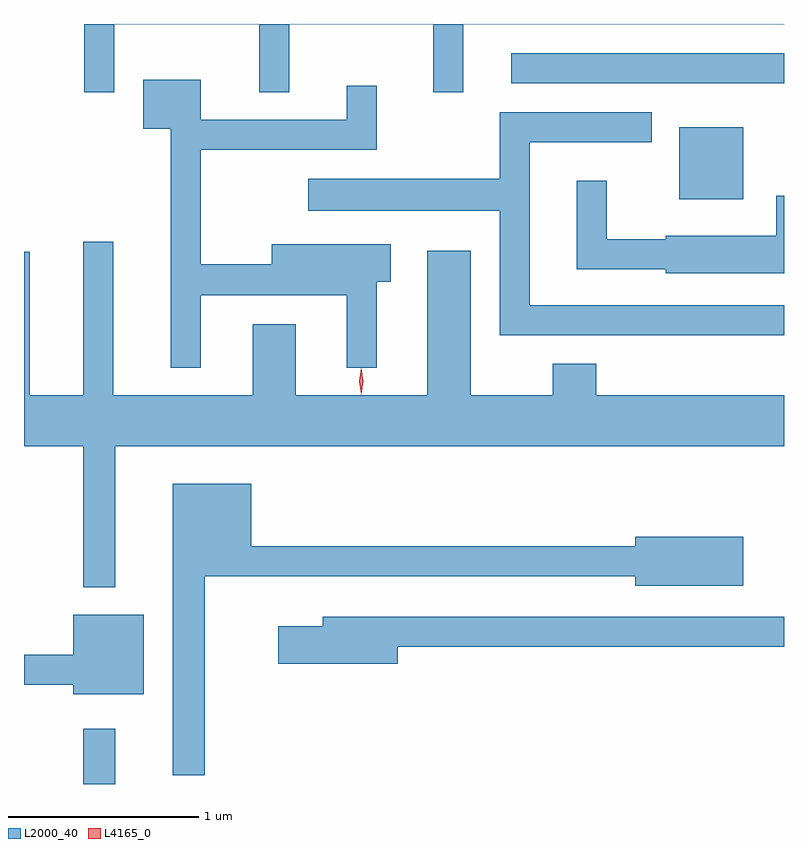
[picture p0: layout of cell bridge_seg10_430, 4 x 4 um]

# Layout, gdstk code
import gdstk
lib = gdstk.Library(unit=1e-6, precision=1e-09)
def R(c, l, rs):  # rectangles x0, y0, x1, y1
    for r in rs: c.add(gdstk.rectangle(r[:2], r[2:], *l))
def P(c, l, *ps):  # polygons
    for p in ps: c.add(gdstk.Polygon(p, *l))
L2000_40 = (2000, 40)
L4165_0 = (4165, 0)

bridge_seg10_430 = lib.new_cell('bridge_seg10_430')
R(bridge_seg10_430, L2000_40, [(1409.711,2143.218,1409.879,2143.508), (1412.846,2146.296,1413.184,2146.674), (1411.963,2146.906,1413.398,2147.064)])
P(bridge_seg10_430, L2000_40, [(1409.874,2147.216),(1410.636,2147.216),(1410.636,2146.858),(1410.794,2146.858),(1410.794,2147.216),(1411.551,2147.216),(1411.551,2146.858),(1411.709,2146.858),(1411.709,2147.216),(1413.398,2147.216),(1413.398,2147.218),(1409.398,2147.218),(1409.398,2147.216),(1409.716,2147.216),(1409.716,2146.858),(1409.874,2146.858)],
  [(1410.329,2145.791),(1411.096,2145.791),(1411.096,2145.408),(1411.254,2145.408),(1411.254,2145.861),(1411.329,2145.861),(1411.329,2146.059),(1410.701,2146.059),(1410.701,2145.954),(1410.329,2145.954),(1410.329,2146.556),(1411.254,2146.556),(1411.254,2146.893),(1411.096,2146.893),(1411.096,2146.714),(1410.329,2146.714),(1410.329,2146.924),(1410.026,2146.924),(1410.026,2146.666),(1410.171,2146.666),(1410.171,2145.408),(1410.329,2145.408)],
  [(1413.398,2145.739),(1412.059,2145.739),(1412.059,2146.596),(1412.703,2146.596),(1412.703,2146.754),(1411.901,2146.754),(1411.901,2146.404),(1410.893,2146.404),(1410.893,2146.236),(1411.901,2146.236),(1411.901,2145.581),(1413.398,2145.581)],
  [(1413.398,2146.314),(1413.356,2146.314),(1413.356,2146.104),(1412.776,2146.104),(1412.776,2146.084),(1412.464,2146.084),(1412.464,2146.393),(1412.306,2146.393),(1412.306,2145.926),(1412.776,2145.926),(1412.776,2145.906),(1413.398,2145.906)],
  [(1409.879,2144.996),(1413.398,2144.996),(1413.398,2145.264),(1412.409,2145.264),(1412.409,2145.429),(1412.181,2145.429),(1412.181,2145.264),(1411.749,2145.264),(1411.749,2146.024),(1411.521,2146.024),(1411.521,2145.264),(1410.829,2145.264),(1410.829,2145.639),(1410.601,2145.639),(1410.601,2145.264),(1409.869,2145.264),(1409.869,2146.073),(1409.711,2146.073),(1409.711,2145.264),(1409.429,2145.264),(1409.429,2146.019),(1409.398,2146.019),(1409.398,2144.996),(1409.711,2144.996),(1409.711,2144.253),(1409.879,2144.253)],
  [(1410.349,2144.311),(1412.616,2144.311),(1412.616,2144.261),(1413.184,2144.261),(1413.184,2144.519),(1412.616,2144.519),(1412.616,2144.469),(1410.594,2144.469),(1410.594,2144.799),(1410.181,2144.799),(1410.181,2143.263),(1410.349,2143.263)],
  [(1410.029,2144.109),(1409.656,2144.109),(1409.656,2143.899),(1409.398,2143.899),(1409.398,2143.741),(1409.656,2143.741),(1409.656,2143.691),(1410.029,2143.691)],
  [(1411.364,2143.941),(1413.398,2143.941),(1413.398,2144.099),(1410.971,2144.099),(1410.971,2144.049),(1410.736,2144.049),(1410.736,2143.851),(1411.364,2143.851)])
P(bridge_seg10_430, L4165_0, [(1411.173,2145.268),(1411.172,2145.269),(1411.163,2145.337),(1411.173,2145.405),(1411.173,2145.405),(1411.174,2145.405),(1411.183,2145.337),(1411.173,2145.269)])

lib.write_gds('bridge_seg10_430.gds')
